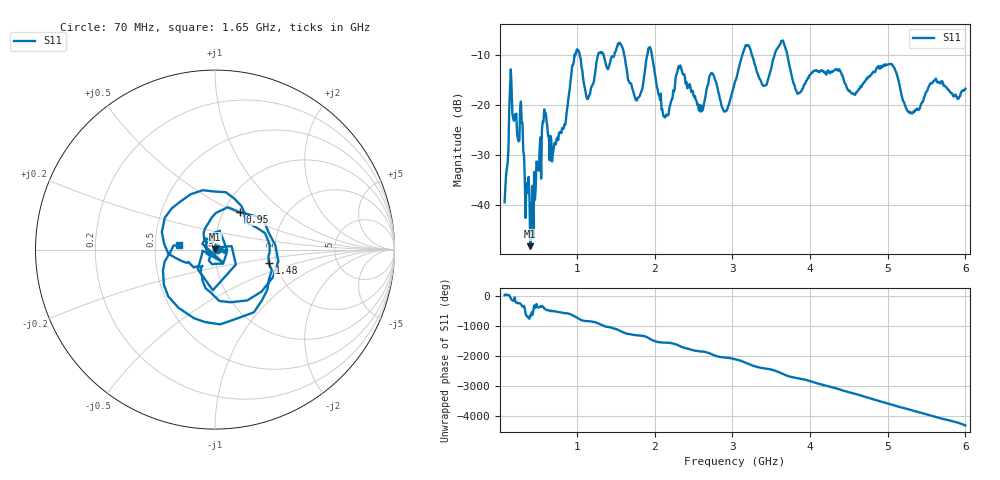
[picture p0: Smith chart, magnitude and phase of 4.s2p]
! S21 sweep bladeRF  2018-07-03T11:06:20
! Window=bharris  Blocks=64  Samples=2048  Method=median
! TX LUT = thru_txlut.csv
# Hz S DB R 50
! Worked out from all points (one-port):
!   594 points, 70 MHz to 6 GHz, reference 50 ohm
!   lowest |S11| = -48.2 dB at 400 MHz (marker M1), VSWR 1.01, Z = 50.1 + j0.375 ohm
!   |S11| at or under -10 dB: start of sweep to 969.4 MHz; 1.965 GHz to 3.13 GHz (1.164 GHz wide, 45.7 % of centre); 3.708 GHz to end of sweep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
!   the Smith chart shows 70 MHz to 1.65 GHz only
!   S11 on the Smith chart (normalised r, x): 70 MHz: 1.02, +0.01; 950 MHz: 1.19, +0.53; 1.48 GHz: 1.82, -0.31; 1.65 GHz: 0.67, +0.04
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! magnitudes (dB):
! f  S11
! 70 MHz  -39.4
! 150 MHz  -12.9
! 290 MHz  -23.5
! 400 MHz  -48.2
! 580 MHz  -20.9
! 670 MHz  -26.8
! 820 MHz  -24.7
! 950 MHz  -12.0
! 1.14 GHz  -18.8
! 1.48 GHz  -10.2
! 1.56 GHz  -7.8
! 1.65 GHz  -13.9
! 1.78 GHz  -18.7
! 1.94 GHz  -8.4
! 2.14 GHz  -22.4
! 2.3 GHz  -12.8
! 2.59 GHz  -21.3
! 2.73 GHz  -13.6
! 2.91 GHz  -21.3
! 3.04 GHz  -15.1
! 3.19 GHz  -8.2
! 3.42 GHz  -16.1
! 3.64 GHz  -7.2
! 3.78 GHz  -15.2
! 4.52 GHz  -17.4
! 5.04 GHz  -11.8
! 5.26 GHz  -21.3
! 6 GHz  -16.7
